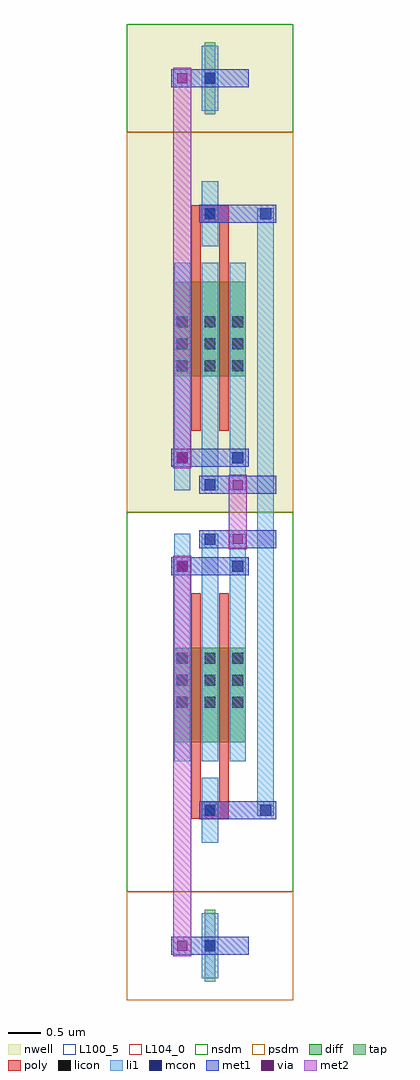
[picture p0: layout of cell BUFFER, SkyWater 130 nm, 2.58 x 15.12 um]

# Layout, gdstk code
import gdstk
lib = gdstk.Library(unit=1e-6, precision=1e-09)
def R(c, l, rs):  # rectangles x0, y0, x1, y1
    for r in rs: c.add(gdstk.rectangle(r[:2], r[2:], *l))
def A(c, l, x, y, w, h, nx, ny, dx, dy):  # array of equal rectangles
    R(c, l, [(x+i*dx, y+j*dy, x+i*dx+w, y+j*dy+h) for i in range(nx) for j in range(ny)])
nwell = (64, 20)
diff = (65, 20)
tap = (65, 44)
poly = (66, 20)
licon = (66, 44)
li1 = (67, 20)
mcon = (67, 44)
met1 = (68, 20)
via = (68, 44)
met2 = (69, 20)
nsdm = (93, 44)
psdm = (94, 20)
L100_5 = (100, 5)
L104_0 = (104, 0)

buffer = lib.new_cell('BUFFER')
R(buffer, nwell, [(0,7.56,2.58,15.12)])
R(buffer, diff, [(0.735,3.99,1.845,5.46), (0.735,9.66,1.845,11.13)])
R(buffer, tap, [(1.205,0.28,1.375,1.4), (1.205,13.72,1.375,14.84)])
R(buffer, poly, [(1,2.805,1.58,3.075), (1,2.94,1.15,6.3), (1.43,2.94,1.58,6.3), (1,8.82,1.15,12.18), (1.43,8.82,1.58,12.18), (1,12.045,1.58,12.315)])
A(buffer, licon, 0.775, 4.53, 0.17, 0.17, 3, 3, 0.43, 0.34)
A(buffer, licon, 0.775, 9.74, 0.17, 0.17, 3, 3, 0.43, 0.34)
R(buffer, licon, [(1.205,0.755,1.375,0.925), (1.205,2.855,1.375,3.025), (1.205,12.095,1.375,12.265), (1.205,14.195,1.375,14.365)])
A(buffer, li1, 0.735, 3.695, 0.25, 3.53, 3, 2, 0.43, 4.2)
R(buffer, li1, [(1.165,0.335,1.415,1.345), (1.165,2.435,1.415,3.445), (2.025,2.855,2.275,12.265), (1.165,11.675,1.415,12.685), (1.165,13.775,1.415,14.785)])
R(buffer, mcon, [(1.205,0.755,1.375,0.925), (1.205,2.855,1.375,3.025), (2.065,2.855,2.235,3.025), (0.775,6.635,0.945,6.805), (1.635,6.635,1.805,6.805), (1.205,7.055,1.375,7.225), (1.205,7.895,1.375,8.065), (0.775,8.315,0.945,8.485), (1.635,8.315,1.805,8.485), (1.205,12.095,1.375,12.265), (2.065,12.095,2.235,12.265), (1.205,14.195,1.375,14.365)])
R(buffer, met1, [(0.69,0.7,1.89,0.98), (1.12,2.8,2.32,3.08), (0.69,6.58,1.89,6.86), (1.12,7,2.32,7.28), (1.12,7.84,2.32,8.12), (0.69,8.26,1.89,8.54), (1.12,12.04,2.32,12.32), (0.69,14.14,1.89,14.42)])
R(buffer, via, [(0.785,0.765,0.935,0.915), (0.785,6.645,0.935,6.795), (1.645,7.065,1.795,7.215), (1.645,7.905,1.795,8.055), (0.785,8.325,0.935,8.475), (0.785,14.205,0.935,14.355)])
R(buffer, met2, [(0.72,0.68,1,6.88), (1.58,6.98,1.86,8.14), (0.72,8.24,1,14.44)])
R(buffer, nsdm, [(0,1.68,2.58,7.56), (0,13.44,2.58,15.12)])
R(buffer, psdm, [(0,0,2.58,1.68), (0,7.56,2.58,13.44)])
R(buffer, L100_5, [(0,0,2.58,15.12)])
R(buffer, L104_0, [(0,0,2.58,15.12)])

lib.write_gds('BUFFER.gds')
